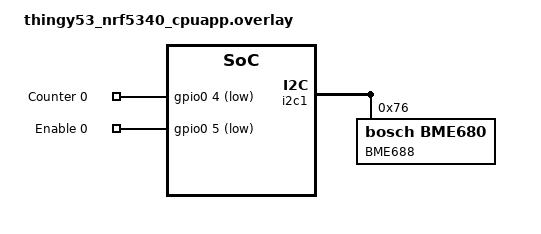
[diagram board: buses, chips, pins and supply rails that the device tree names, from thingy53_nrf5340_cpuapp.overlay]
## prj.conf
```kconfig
CONFIG_BT=y
CONFIG_BT_DEBUG_LOG=y
CONFIG_BT_PERIPHERAL=y
CONFIG_BT_DEVICE_NAME="SENSORST"
CONFIG_BT_GATT_CLIENT=y

# choose RTT console
CONFIG_USE_SEGGER_RTT=y
CONFIG_RTT_CONSOLE=y

# General config
CONFIG_LOG=y
CONFIG_LOG_DEFAULT_LEVEL=4

# Sensors
CONFIG_I2C=y
CONFIG_SENSOR=y
CONFIG_BME680=y
```

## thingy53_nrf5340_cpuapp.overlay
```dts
// To get started, press Ctrl+Space to bring up the completion menu and view the available nodes.

// You can also use the buttons in the sidebar to perform actions on nodes.
// Actions currently available include:

// * Enabling / disabling the node
// * Adding the bus to a bus
// * Removing the node
// * Connecting ADC channels

// For more help, browse the DeviceTree documentation at https: //docs.zephyrproject.org/latest/guides/dts/index.html
// You can also visit the nRF DeviceTree extension documentation at https: //nrfconnect.github.io/vscode-nrf-connect/devicetree/nrfdevicetree.html

&i2c1 {
	bme688@76 {
		compatible = "bosch,bme680";
		label = "BME688";
		reg = <0x76>;
		status = "okay";
	};

	/*
	ads1115: ads1115@48 {
		compatible = "ti,ads1115";
		reg = <0x48>;
		label = "ADS1115";
		#io-channel-cells = <1>;
		channel@4 {
			reg = <0x04>;
			zephyr,gain = "ADC_GAIN_1_6";
			zephyr,reference = "ADC_REF_VDD_1";
			zephyr,acquisition-time = <ADC_ACQ_TIME_DEFAULT>;
		};
	};
	 */
};

/ {
	aliases {
		counter = &counter0;
		enable = &enable0;
	};

	gpio_keys {
        compatible = "gpio-keys";
        counter0: counter_0 {
            gpios = <&gpio0 4 GPIO_ACTIVE_LOW>;
            label = "Counter 0";
        };
        enable0: enable_0 {
            gpios = <&gpio0 5 GPIO_ACTIVE_LOW>;
            label = "Enable 0";
        };
    };
};
```

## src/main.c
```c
/* main.c - Application main entry point */

/*
 * Copyright (c) 2015-2016 Intel Corporation
 * Copyright (c) 2019 Marcio Montenegro <mtuxpe@gmail.com>
 *
 * SPDX-License-Identifier: Apache-2.0
 */

#include <zephyr/types.h>
#include <zephyr/kernel.h>
#include <stddef.h>
#include <string.h>
#include <errno.h>
#include <zephyr/sys/printk.h>
#include <zephyr/sys/byteorder.h>
#include <zephyr/zephyr.h>
#include <zephyr/drivers/gpio.h>
#include <zephyr/logging/log.h>
#include <zephyr/drivers/i2c.h>
#include <zephyr/device.h>
#include <zephyr/devicetree.h>
#include <zephyr/bluetooth/bluetooth.h>
#include <zephyr/bluetooth/hci.h>
#include <zephyr/bluetooth/conn.h>
#include <zephyr/bluetooth/uuid.h>
#include <zephyr/bluetooth/gatt.h>
#include "sensor.h"

#define COUNTER_NODE DT_ALIAS(counter)
#define ENABLE_NODE DT_ALIAS(enable)

LOG_MODULE_REGISTER(app, CONFIG_LOG_DEFAULT_LEVEL);

static const struct gpio_dt_spec counters = GPIO_DT_SPEC_GET_OR(COUNTER_NODE, gpios, {0});

static const struct gpio_dt_spec enabler = GPIO_DT_SPEC_GET_OR(ENABLE_NODE, gpios, {0});

/* Button value. */
static uint16_t temp;
static uint16_t hum;
static uint16_t moi;

/* Prototype */
static ssize_t recv(struct bt_conn *conn,
					const struct bt_gatt_attr *attr, const void *buf,
					uint16_t len, uint16_t offset, uint8_t flags);

/* ST Custom Service  */
static struct bt_uuid_128 st_service_uuid_temp = BT_UUID_INIT_128(
	BT_UUID_128_ENCODE(0x0000fe40, 0xcc7a, 0x482a, 0x984a, 0x7f2ed5b3e58f));
static struct bt_uuid_128 st_service_uuid_hum = BT_UUID_INIT_128(
	BT_UUID_128_ENCODE(0x0000fe41, 0xcc7a, 0x482a, 0x984a, 0x7f2ed5b3e58f));
static struct bt_uuid_128 st_service_uuid_moi = BT_UUID_INIT_128(
	BT_UUID_128_ENCODE(0x0000fe42, 0xcc7a, 0x482a, 0x984a, 0x7f2ed5b3e58f));

/* ST Notify Sensors services */
static struct bt_uuid_128 temp_notif_uuid = BT_UUID_INIT_128(
	BT_UUID_128_ENCODE(0x0000fe43, 0x8e22, 0x4541, 0x9d4c, 0x21edae82ed19));
static struct bt_uuid_128 hum_notif_uuid = BT_UUID_INIT_128(
	BT_UUID_128_ENCODE(0x0000fe44, 0x8e22, 0x4541, 0x9d4c, 0x21edae82ed19));
static struct bt_uuid_128 moi_notif_uuid = BT_UUID_INIT_128(
	BT_UUID_128_ENCODE(0x0000fe45, 0x8e22, 0x4541, 0x9d4c, 0x21edae82ed19));

#define DEVICE_NAME CONFIG_BT_DEVICE_NAME
#define DEVICE_NAME_LEN (sizeof(DEVICE_NAME) - 1)
#define ADV_LEN 12

/* Advertising data */
static uint8_t manuf_data[ADV_LEN] = {
	0x01 /*SKD version */,
	0x83 /* STM32WB - P2P Server 1 */,
	0x00 /* GROUP A Feature  */,
	0x00 /* GROUP A Feature */,
	0x00 /* GROUP B Feature */,
	0x00 /* GROUP B Feature */,
	0x00, /* BLE MAC start -MSB */
	0x00,
	0x00,
	0x00,
	0x00,
	0x00, /* BLE MAC stop */
};

static const struct bt_data ad[] = {
	BT_DATA_BYTES(BT_DATA_FLAGS, (BT_LE_AD_GENERAL | BT_LE_AD_NO_BREDR)),
	BT_DATA(BT_DATA_NAME_COMPLETE, DEVICE_NAME, DEVICE_NAME_LEN),
	BT_DATA(BT_DATA_MANUFACTURER_DATA, manuf_data, ADV_LEN)};

/* BLE connection */
struct bt_conn *conn;
/* Notification state */
volatile bool notify_enable_temp;
volatile bool notify_enable_hum;
volatile bool notify_enable_moi;

static void mpu_ccc_cfg_changed_temp(const struct bt_gatt_attr *attr, uint16_t value)
{
	ARG_UNUSED(attr);
	notify_enable_temp = (value == BT_GATT_CCC_NOTIFY);
	LOG_INF("Notification %s", notify_enable_temp ? "enabled" : "disabled");
}

static void mpu_ccc_cfg_changed_hum(const struct bt_gatt_attr *attr, uint16_t value)
{
	ARG_UNUSED(attr);
	notify_enable_hum = (value == BT_GATT_CCC_NOTIFY);
	LOG_INF("Notification %s", notify_enable_hum ? "enabled" : "disabled");
}

static void mpu_ccc_cfg_changed_moi(const struct bt_gatt_attr *attr, uint16_t value)
{
	ARG_UNUSED(attr);
	notify_enable_moi = (value == BT_GATT_CCC_NOTIFY);
	LOG_INF("Notification %s", notify_enable_moi ? "enabled" : "disabled");
}

/* The embedded board is acting as GATT server.
 * The ST BLE Android app is the BLE GATT client.
 */

/* ST BLE Sensor GATT services and characteristic */

BT_GATT_SERVICE_DEFINE(stsensor_svc,
					   BT_GATT_PRIMARY_SERVICE(&st_service_uuid_temp),
					   BT_GATT_CHARACTERISTIC(&temp_notif_uuid.uuid, BT_GATT_CHRC_NOTIFY,
											  BT_GATT_PERM_READ, NULL, NULL, &temp),
					   BT_GATT_CCC(mpu_ccc_cfg_changed_temp, BT_GATT_PERM_READ | BT_GATT_PERM_WRITE),
					   BT_GATT_PRIMARY_SERVICE(&st_service_uuid_hum),
					   BT_GATT_CHARACTERISTIC(&hum_notif_uuid.uuid, BT_GATT_CHRC_NOTIFY,
											  BT_GATT_PERM_READ, NULL, NULL, &hum),
					   BT_GATT_CCC(mpu_ccc_cfg_changed_hum, BT_GATT_PERM_READ | BT_GATT_PERM_WRITE),
					   BT_GATT_PRIMARY_SERVICE(&st_service_uuid_moi),
					   BT_GATT_CHARACTERISTIC(&moi_notif_uuid.uuid, BT_GATT_CHRC_NOTIFY,
											  BT_GATT_PERM_READ, NULL, NULL, &moi),
					   BT_GATT_CCC(mpu_ccc_cfg_changed_moi, BT_GATT_PERM_READ | BT_GATT_PERM_WRITE), );

static void bt_ready(int err)
{
	if (err)
	{
		LOG_ERR("Bluetooth init failed (err %d)", err);
		return;
	}
	LOG_INF("Bluetooth initialized");
	/* Start advertising */
	err = bt_le_adv_start(BT_LE_ADV_CONN, ad, ARRAY_SIZE(ad), NULL, 0);
	if (err)
	{
		LOG_ERR("Advertising failed to start (err %d)", err);
		return;
	}

	LOG_INF("Configuration mode: waiting connections...");
}

static void connected(struct bt_conn *connected, uint8_t err)
{
	if (err)
	{
		LOG_ERR("Connection failed (err %u)", err);
	}
	else
	{
		LOG_INF("Connected");
		if (!conn)
		{
			conn = bt_conn_ref(connected);
		}
	}
}

static void disconnected(struct bt_conn *disconn, uint8_t reason)
{
	if (conn)
	{
		bt_conn_unref(conn);
		conn = NULL;
	}

	LOG_INF("Disconnected (reason %u)", reason);
}

BT_CONN_CB_DEFINE(conn_callbacks) = {
	.connected = connected,
	.disconnected = disconnected,
};

void main(void)
{
	// Initialize the Sensor Subsystem
	int err = sensor_init();
	if (err)
	{
		LOG_ERR("Failed to initialize sensor: %d", err);
	}

	// Initialize the Bluetooth Subsystem
	err = bt_enable(bt_ready);
	if (err)
	{
		LOG_ERR("Bluetooth init failed (err %d)", err);
	}

	gpio_pin_configure_dt(&counters, GPIO_INPUT);
	gpio_pin_configure_dt(&enabler, GPIO_INPUT);
	uint16_t counter = 0;
	uint16_t counterMemory = 0;
	int flagSave = 0;
	int flagIN = 0;
	int flagOUT = 0;

	while (1)
	{
		if (!gpio_pin_get_dt(&enabler))
		{
			flagSave = 1;
			if (!gpio_pin_get_dt(&counters))
			{
				flagIN = true;
				flagOUT = false;
			}
			if (gpio_pin_get_dt(&counters))
			{
				flagOUT = true;
			}
			if (flagOUT && flagIN)
			{
				flagIN = false;
				flagOUT = false;
				counter++;
			}
		}
		else
		{
			float temps = 0;
			float hums = 0;

			if (flagSave)
			{
				counterMemory = counter;
				flagSave = 0;
				counter = 0;
			}

			int err = sensor_update_measurements();
			if (err)
			{
				LOG_ERR("Failed to update sensor");
			}

			// Get Sensor Data
			sensor_get_temperature(&temps);
			sensor_get_humidity(&hums);

			// Set Temperature
			temp = (uint16_t)(temps * 100);
			LOG_INF("%d", temp / 100);
			k_msleep(1);

			// Set Humidity
			hum = (uint16_t)hums;
			LOG_INF("%d", hum);
			k_msleep(1);

			// Set Moisture
			moi = (uint16_t)counterMemory;
			LOG_INF("%d", moi);
			k_msleep(1);

			// Notify Temperature
			err = bt_gatt_notify(NULL, &stsensor_svc.attrs[2],
								 &temp, sizeof(temp));
			if (err)
			{
				LOG_ERR("Notify error: %d", err);
			}
			else
			{
				LOG_INF("Send notify ok");
				temp = (temp == 0) ? 0x100 : 0;
			}
			k_msleep(1000);
			// Notify Humidity
			err = bt_gatt_notify(NULL, &stsensor_svc.attrs[5],
								 &hum, sizeof(hum));
			if (err)
			{
				LOG_ERR("Notify error: %d", err);
			}
			else
			{
				LOG_INF("Send notify ok");
				hum = (hum == 0) ? 0x100 : 0;
			}
			k_msleep(1000);
			// Notify Moisture
			err = bt_gatt_notify(NULL, &stsensor_svc.attrs[8],
								 &moi, sizeof(moi));
			if (err)
			{
				LOG_ERR("Notify error: %d", err);
			}
			else
			{
				LOG_INF("Send notify ok");
				moi = (moi == 0) ? 0x100 : 0;
			}
			k_msleep(1000);
		}
		k_msleep(1);
	}
}
```

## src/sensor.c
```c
/*
 * Copyright (c) 2022 Nordic Semiconductor ASA
 *
 * SPDX-License-Identifier: LicenseRef-Nordic-5-Clause
 */

#include <zephyr/logging/log.h>

#include "sensor.h"

/*
 * Sensor value is represented as having an integer and a fractional part,
 * and can be obtained using the formula val1 + val2 * 10^(-6).
 */
#define SENSOR_VAL2_DIVISOR 1000000

LOG_MODULE_REGISTER(sens, CONFIG_LOG_DEFAULT_LEVEL);

static const struct device *sensor;

/*
 * Sensor value is represented as having an integer and a fractional part,
 * and can be obtained using the formula val1 + val2 * 10^(-6). Negative
 * values also adhere to the above formula, but may need special attention.
 * Here are some examples of the value representation:
 *
 *      0.5: val1 =  0, val2 =  500000
 *     -0.5: val1 =  0, val2 = -500000
 *     -1.0: val1 = -1, val2 =  0
 *     -1.5: val1 = -1, val2 = -500000
 */
static float convert_sensor_value(struct sensor_value value)
{
	float result = 0.0f;

	/* Determine sign */
	result = (value.val1 < 0 || value.val2 < 0) ? -1.0f : 1.0f;

	/* Use absolute values */
	value.val1 = value.val1 < 0 ? -value.val1 : value.val1;
	value.val2 = value.val2 < 0 ? -value.val2 : value.val2;

	/* Calculate value */
	result *= (value.val1 + value.val2 / (float)SENSOR_VAL2_DIVISOR);

	return result;
}

int sensor_init(void)
{
	int err = 0;

	if (sensor) {
		LOG_WRN("Sensor already initialized");
	} else {
		sensor = DEVICE_DT_GET(DT_INST(0, bosch_bme680));
		if (!sensor) {
			LOG_ERR("Failed to get device");
			err = ENODEV;
		}
	}

	return err;
}

int sensor_update_measurements(void)
{
	int err = 0;

	if (sensor) {
		err = sensor_sample_fetch(sensor);
	} else {
		LOG_ERR("Sensor not initialized");
		err = ENODEV;
	}

	return err;
}

int sensor_get_temperature(float *temperature)
{
	int err = 0;

	if (temperature) {
		if (sensor) {
			struct sensor_value sensor_temperature;

			err = sensor_channel_get(sensor,
						 SENSOR_CHAN_AMBIENT_TEMP,
						 &sensor_temperature);
			if (err) {
				LOG_ERR("Failed to get sensor channel: %d", err);
			} else {
				
				*temperature = convert_sensor_value(sensor_temperature);
			}
		} else {
			LOG_ERR("Sensor not initialized");
			err = ENODEV;
		}
	} else {
		LOG_ERR("NULL param");
		err = EINVAL;
	}

	return err;
}

int sensor_get_pressure(float *pressure)
{
	int err = 0;

	if (pressure) {
		if (sensor) {
			struct sensor_value sensor_pressure;

			err = sensor_channel_get(sensor,
						 SENSOR_CHAN_PRESS,
						 &sensor_pressure);
			if (err) {
				LOG_ERR("Failed to get sensor channel: %d", err);
			} else {
				
				*pressure = convert_sensor_value(sensor_pressure);
			}
		} else {
			LOG_ERR("Sensor not initialized");
			err = ENODEV;
		}
	} else {
		LOG_ERR("NULL param");
		err = EINVAL;
	}

	return err;
}

int sensor_get_humidity(float *humidity)
{
	int err = 0;

	if (humidity) {
		if (sensor) {
			struct sensor_value sensor_humidity;

			err = sensor_channel_get(sensor,
						 SENSOR_CHAN_HUMIDITY,
						 &sensor_humidity);
			if (err) {
				LOG_ERR("Failed to get sensor channel: %d", err);
			} else {
				
				*humidity = convert_sensor_value(sensor_humidity);
			}
		} else {
			LOG_ERR("Sensor not initialized");
			err = ENODEV;
		}
	} else {
		LOG_ERR("NULL param");
		err = EINVAL;
	}

	return err;
}
```

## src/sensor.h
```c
/*
 * Copyright (c) 2022 Nordic Semiconductor ASA
 *
 * SPDX-License-Identifier: LicenseRef-Nordic-5-Clause
 */

#ifndef SENSOR_H
#define SENSOR_H

#include <zephyr/drivers/sensor.h>

/* Measurements ranges for Bosch BME688 sensor */
#define SENSOR_TEMP_CELSIUS_MIN (-40)
#define SENSOR_TEMP_CELSIUS_MAX (85)
#define SENSOR_TEMP_CELSIUS_TOLERANCE (1)
#define SENSOR_PRESSURE_KPA_MIN (30)
#define SENSOR_PRESSURE_KPA_MAX (110)
#define SENSOR_PRESSURE_KPA_TOLERANCE (0)
#define SENSOR_HUMIDITY_PERCENT_MIN (10)
#define SENSOR_HUMIDITY_PERCENT_MAX (90)
#define SENSOR_HUMIDITY_PERCENT_TOLERANCE (3)

// ADC Registers

//#define ADS1115_SERIAL_DEBUG

#define ADS1115_ADDRESS_ADDR_GND    0x48 // address pin low (GND)
#define ADS1115_ADDRESS_ADDR_VDD    0x49 // address pin high (VCC)
#define ADS1115_ADDRESS_ADDR_SDA    0x4A // address pin tied to SDA pin
#define ADS1115_ADDRESS_ADDR_SCL    0x4B // address pin tied to SCL pin
#define ADS1115_DEFAULT_ADDRESS     ADS1115_ADDRESS_ADDR_GND

#define ADS1115_RA_CONVERSION       0x00
#define ADS1115_RA_CONFIG           0x01
#define ADS1115_RA_LO_THRESH        0x02
#define ADS1115_RA_HI_THRESH        0x03

#define ADS1115_CFG_OS_BIT          15
#define ADS1115_CFG_MUX_BIT         14
#define ADS1115_CFG_MUX_LENGTH      3
#define ADS1115_CFG_PGA_BIT         11
#define ADS1115_CFG_PGA_LENGTH      3
#define ADS1115_CFG_MODE_BIT        8
#define ADS1115_CFG_DR_BIT          7
#define ADS1115_CFG_DR_LENGTH       3
#define ADS1115_CFG_COMP_MODE_BIT   4
#define ADS1115_CFG_COMP_POL_BIT    3
#define ADS1115_CFG_COMP_LAT_BIT    2
#define ADS1115_CFG_COMP_QUE_BIT    1
#define ADS1115_CFG_COMP_QUE_LENGTH 2


#define ADS1115_MUX_P0_N1           0x00 // default
#define ADS1115_MUX_P0_N3           0x01
#define ADS1115_MUX_P1_N3           0x02
#define ADS1115_MUX_P2_N3           0x03
#define ADS1115_MUX_P0_NG           0x04
#define ADS1115_MUX_P1_NG           0x05
#define ADS1115_MUX_P2_NG           0x06
#define ADS1115_MUX_P3_NG           0x07

#define ADS1115_PGA_6P144           0x00
#define ADS1115_PGA_4P096           0x01
#define ADS1115_PGA_2P048           0x02 // default
#define ADS1115_PGA_1P024           0x03
#define ADS1115_PGA_0P512           0x04
#define ADS1115_PGA_0P256           0x05
#define ADS1115_PGA_0P256B          0x06
#define ADS1115_PGA_0P256C          0x07

#define ADS1115_MV_6P144            0.187500
#define ADS1115_MV_4P096            0.125000
#define ADS1115_MV_2P048            0.062500 // default
#define ADS1115_MV_1P024            0.031250
#define ADS1115_MV_0P512            0.015625
#define ADS1115_MV_0P256            0.007813
#define ADS1115_MV_0P256B           0.007813 
#define ADS1115_MV_0P256C           0.007813

#define ADS1115_MODE_CONTINUOUS     0x00
#define ADS1115_MODE_SINGLESHOT     0x01 // default

#define ADS1115_RATE_8              0x00
#define ADS1115_RATE_16             0x01
#define ADS1115_RATE_32             0x02
#define ADS1115_RATE_64             0x03
#define ADS1115_RATE_128            0x04 // default
#define ADS1115_RATE_250            0x05
#define ADS1115_RATE_475            0x06
#define ADS1115_RATE_860            0x07

#define ADS1115_COMP_MODE_HYSTERESIS    0x00 // default
#define ADS1115_COMP_MODE_WINDOW        0x01

#define ADS1115_COMP_POL_ACTIVE_LOW     0x00 // default
#define ADS1115_COMP_POL_ACTIVE_HIGH    0x01

#define ADS1115_COMP_LAT_NON_LATCHING   0x00 // default
#define ADS1115_COMP_LAT_LATCHING       0x01

#define ADS1115_COMP_QUE_ASSERT1    0x00
#define ADS1115_COMP_QUE_ASSERT2    0x01
#define ADS1115_COMP_QUE_ASSERT4    0x02
#define ADS1115_COMP_QUE_DISABLE    0x03 // default

/**
 * @brief Initializes Bosch BME688 sensor.
 *
 * @note Has to be called before other functions are used.
 *
 * @return 0 if success, error code if failure.
 */
int sensor_init(void);

/**
 * @brief Updates and stores internally data measured by sensor.
 *
 * @note A single call updates temperature, pressure and humidity values at once.
 *
 * @return 0 if success, error code if failure.
 */
int sensor_update_measurements(void);

/**
 * @brief Provides last measured value of temperature.
 *
 * @note Call sensor_update_measurements() to update the value.
 *
 * @param temperature [out] temperature value in Celsiuss degrees.
 *
 * @return 0 if success, error code if failure.
 */
int sensor_get_temperature(float *temperature);

/**
 * @brief Provides last measured value of pressure.
 *
 * @note Call sensor_update_measurements() to update the value.
 *
 * @param pressure [out] pressure value in kPa.
 *
 * @return 0 if success, error code if failure.
 */
int sensor_get_pressure(float *pressure);

/**
 * @brief Provides last measured value of relative humidity.
 *
 * @note Call sensor_update_measurements() to update the value.
 *
 * @param humidity [out] relative humidity value in %.
 *
 * @return 0 if success, error code if failure.
 */
int sensor_get_humidity(float *humidity);

#endif /* SENSOR_H */
```
